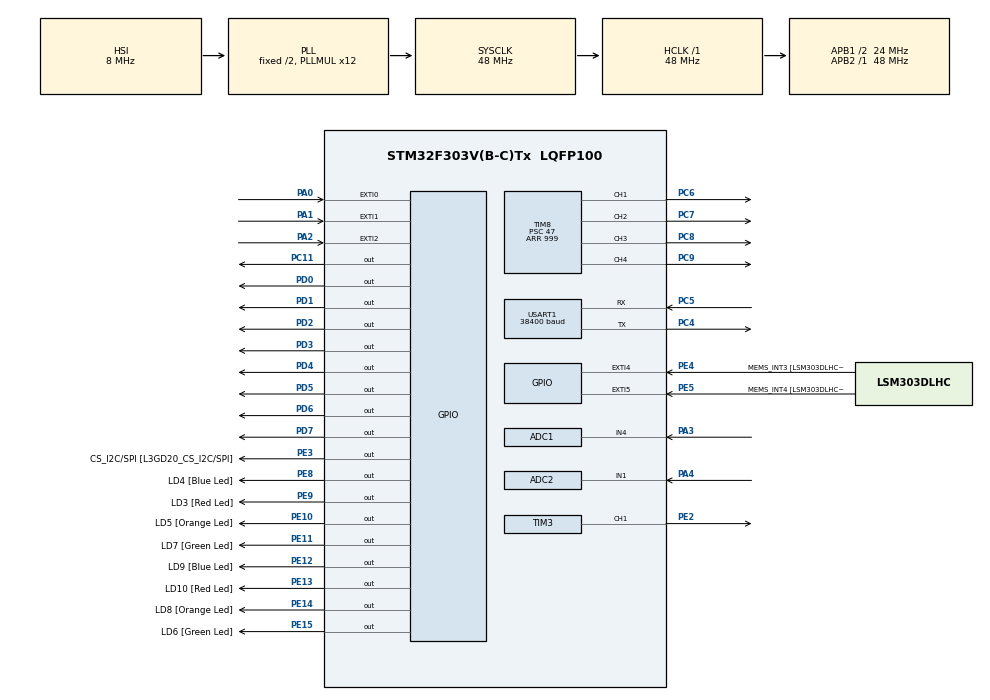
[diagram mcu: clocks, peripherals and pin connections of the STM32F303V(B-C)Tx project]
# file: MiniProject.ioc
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ADC1.Channel-0\#ChannelRegularConversion=ADC_CHANNEL_4
ADC1.NbrOfConversionFlag=1
ADC1.Offset-0\#ChannelRegularConversion=0
ADC1.OffsetNumber-0\#ChannelRegularConversion=ADC_OFFSET_NONE
ADC1.Rank-0\#ChannelRegularConversion=1
ADC1.SamplingTime-0\#ChannelRegularConversion=ADC_SAMPLETIME_601CYCLES_5
ADC1.SamplingTimeOPAMP-0\#ChannelRegularConversion=ADC_SAMPLETIME_19CYCLES_5
ADC1.master=1
ADC2.Channel-0\#ChannelRegularConversion=ADC_CHANNEL_1
ADC2.NbrOfConversionFlag=1
ADC2.Offset-0\#ChannelRegularConversion=0
ADC2.OffsetNumber-0\#ChannelRegularConversion=ADC_OFFSET_NONE
ADC2.Rank-0\#ChannelRegularConversion=1
ADC2.SamplingTime-0\#ChannelRegularConversion=ADC_SAMPLETIME_601CYCLES_5
ADC2.SamplingTimeOPAMP-0\#ChannelRegularConversion=ADC_SAMPLETIME_19CYCLES_5
Mcu.Family=STM32F3
Mcu.Name=STM32F303V(B-C)Tx
Mcu.Package=LQFP100
NVIC.ADC1_2_IRQn=true\:0\:0\:false\:false\:true\:true\:true\:true
NVIC.EXTI0_IRQn=true\:0\:0\:false\:false\:true\:true\:true\:true
NVIC.EXTI1_IRQn=true\:0\:0\:false\:false\:true\:true\:true\:true
NVIC.EXTI2_TSC_IRQn=true\:0\:0\:false\:false\:true\:true\:true\:true
NVIC.PriorityGroup=NVIC_PRIORITYGROUP_0
NVIC.TIM1_BRK_TIM15_IRQn=true\:0\:0\:false\:false\:true\:true\:true\:true
NVIC.TIM1_CC_IRQn=true\:0\:0\:false\:false\:true\:true\:true\:true
NVIC.TIM1_TRG_COM_TIM17_IRQn=true\:0\:0\:false\:false\:true\:true\:true\:true
NVIC.TIM1_UP_TIM16_IRQn=true\:0\:0\:false\:false\:true\:true\:true\:true
NVIC.TIM2_IRQn=true\:0\:0\:false\:false\:true\:true\:true\:true
NVIC.TIM4_IRQn=true\:0\:0\:false\:false\:true\:true\:true\:true
NVIC.TIM8_BRK_IRQn=true\:0\:0\:false\:false\:true\:true\:true\:true
NVIC.TIM8_CC_IRQn=true\:0\:0\:false\:false\:true\:true\:true\:true
NVIC.TIM8_TRG_COM_IRQn=true\:0\:0\:false\:false\:true\:true\:true\:true
NVIC.TIM8_UP_IRQn=true\:0\:0\:false\:false\:true\:true\:true\:true
NVIC.USART1_IRQn=true\:0\:0\:false\:false\:true\:true\:true\:true
PA0.GPIO_ModeDefaultEXTI=GPIO_MODE_IT_RISING
PA0.GPIO_PuPd=GPIO_PULLUP
PA0.Signal=GPXTI0
PA1.GPIO_ModeDefaultEXTI=GPIO_MODE_IT_RISING
PA1.GPIO_PuPd=GPIO_PULLUP
PA1.Signal=GPXTI1
PA11.GPIO_Label=DM
PA11.Signal=USB_DM
PA12.GPIO_Label=DP
PA12.Signal=USB_DP
PA13.GPIO_Label=SWDIO
PA13.Signal=SYS_JTMS-SWDIO
PA14.GPIO_Label=SWCLK
PA14.Signal=SYS_JTCK-SWCLK
PA2.GPIO_PuPd=GPIO_PULLUP
PA2.Signal=GPXTI2
PA3.Mode=IN4-Single-Ended
PA3.Signal=ADC1_IN4
PA4.Mode=IN1-Single-Ended
PA4.Signal=ADC2_IN1
PA5.GPIO_Label=SPI1_SCK [L3GD20_SCL/SPC]
PA5.GPIO_Mode=GPIO_MODE_AF_PP
PA5.GPIO_PuPd=GPIO_NOPULL
PA5.GPIO_Speed=GPIO_SPEED_FREQ_LOW
PA5.Signal=SPI1_SCK
PA6.GPIO_Label=SPI1_MISO [L3GD20_SA0/SDO]
PA6.GPIO_Mode=GPIO_MODE_AF_PP
PA6.GPIO_PuPd=GPIO_NOPULL
PA6.GPIO_Speed=GPIO_SPEED_FREQ_LOW
PA6.Signal=SPI1_MISO
PA7.GPIO_Label=SPI1_MISO [L3GD20_SDA/SDI/SDO]
PA7.GPIO_Mode=GPIO_MODE_AF_PP
PA7.GPIO_PuPd=GPIO_NOPULL
PA7.GPIO_Speed=GPIO_SPEED_FREQ_LOW
PA7.Signal=SPI1_MOSI
PB3.GPIO_Label=SWO
PB3.Signal=SYS_JTDO-TRACESWO
PB6.GPIO_FM6=__NULL
PB6.GPIO_Label=I2C1_SCL [LSM303DLHC_SCL]
PB6.GPIO_Mode=GPIO_MODE_AF_OD
PB6.GPIO_PuPd=GPIO_NOPULL
PB6.GPIO_Speed=GPIO_SPEED_FREQ_LOW
PB6.Signal=I2C1_SCL
PB7.GPIO_FM7=__NULL
PB7.GPIO_Label=I2C1_SDA [LSM303DLHC_SDA]
PB7.GPIO_Mode=GPIO_MODE_AF_OD
PB7.GPIO_PuPd=GPIO_NOPULL
PB7.GPIO_Speed=GPIO_SPEED_FREQ_LOW
PB7.Signal=I2C1_SDA
PC11.Signal=GPIO_Output
PC14-OSC32_IN.GPIO_Label=OSC32_IN
PC14-OSC32_IN.Signal=RCC_OSC32_IN
PC15-OSC32_OUT.GPIO_Label=OSC32_OUT
PC15-OSC32_OUT.Signal=RCC_OSC32_OUT
PC4.Mode=Asynchronous
PC4.Signal=USART1_TX
PC5.Mode=Asynchronous
PC5.Signal=USART1_RX
PC6.Signal=S_TIM8_CH1
PC7.Signal=S_TIM8_CH2
PC8.Signal=S_TIM8_CH3
PC9.Signal=S_TIM8_CH4
PD0.Signal=GPIO_Output
PD1.Signal=GPIO_Output
PD2.Signal=GPIO_Output
PD3.Signal=GPIO_Output
PD4.Signal=GPIO_Output
PD5.Signal=GPIO_Output
PD6.Signal=GPIO_Output
PD7.Signal=GPIO_Output
PE10.GPIO_Label=LD5 [Orange Led]
PE10.GPIO_ModeDefaultOutputPP=GPIO_MODE_OUTPUT_PP
PE10.GPIO_PuPd=GPIO_NOPULL
PE10.GPIO_Speed=GPIO_SPEED_FREQ_LOW
PE10.Signal=GPIO_Output
PE11.GPIO_Label=LD7 [Green Led]
PE11.GPIO_ModeDefaultOutputPP=GPIO_MODE_OUTPUT_PP
PE11.GPIO_PuPd=GPIO_NOPULL
PE11.GPIO_Speed=GPIO_SPEED_FREQ_LOW
PE11.Signal=GPIO_Output
PE12.GPIO_Label=LD9 [Blue Led]
PE12.GPIO_ModeDefaultOutputPP=GPIO_MODE_OUTPUT_PP
PE12.GPIO_PuPd=GPIO_NOPULL
PE12.GPIO_Speed=GPIO_SPEED_FREQ_LOW
PE12.Signal=GPIO_Output
PE13.GPIO_Label=LD10 [Red Led]
PE13.GPIO_ModeDefaultOutputPP=GPIO_MODE_OUTPUT_PP
PE13.GPIO_PuPd=GPIO_NOPULL
PE13.GPIO_Speed=GPIO_SPEED_FREQ_LOW
PE13.Signal=GPIO_Output
PE14.GPIO_Label=LD8 [Orange Led]
PE14.GPIO_ModeDefaultOutputPP=GPIO_MODE_OUTPUT_PP
PE14.GPIO_PuPd=GPIO_NOPULL
PE14.GPIO_Speed=GPIO_SPEED_FREQ_LOW
PE14.Signal=GPIO_Output
PE15.GPIO_Label=LD6 [Green Led]
PE15.GPIO_ModeDefaultOutputPP=GPIO_MODE_OUTPUT_PP
PE15.GPIO_PuPd=GPIO_NOPULL
PE15.GPIO_Speed=GPIO_SPEED_FREQ_LOW
PE15.Signal=GPIO_Output
PE2.Signal=S_TIM3_CH1
PE3.GPIO_Label=CS_I2C/SPI [L3GD20_CS_I2C/SPI]
PE3.GPIO_ModeDefaultOutputPP=GPIO_MODE_OUTPUT_PP
PE3.GPIO_PuPd=GPIO_NOPULL
PE3.GPIO_Speed=GPIO_SPEED_FREQ_LOW
PE3.Signal=GPIO_Output
PE4.GPIO_Label=MEMS_INT3 [LSM303DLHC_INT1]
PE4.GPIO_ModeDefaultEXTI=GPIO_MODE_EVT_RISING
PE4.GPIO_PuPd=GPIO_NOPULL
PE4.Signal=GPXTI4
PE5.GPIO_Label=MEMS_INT4 [LSM303DLHC_INT2]
PE5.GPIO_ModeDefaultEXTI=GPIO_MODE_EVT_RISING
PE5.GPIO_PuPd=GPIO_NOPULL
PE5.Signal=GPXTI5
PE8.GPIO_Label=LD4 [Blue Led]
PE8.GPIO_ModeDefaultOutputPP=GPIO_MODE_OUTPUT_PP
PE8.GPIO_PuPd=GPIO_NOPULL
PE8.GPIO_Speed=GPIO_SPEED_FREQ_LOW
PE8.Signal=GPIO_Output
PE9.GPIO_Label=LD3 [Red Led]
PE9.GPIO_ModeDefaultOutputPP=GPIO_MODE_OUTPUT_PP
PE9.GPIO_PuPd=GPIO_NOPULL
PE9.GPIO_Speed=GPIO_SPEED_FREQ_LOW
PE9.Signal=GPIO_Output
PF0-OSC_IN.GPIO_Label=OSC_IN
PF0-OSC_IN.Signal=RCC_OSC_IN
PF1-OSC_OUT.GPIO_Label=OSC_OUT
PF1-OSC_OUT.Signal=RCC_OSC_OUT
ProjectManager.HeapSize=0x200
ProjectManager.StackSize=0x400
ProjectManager.TargetToolchain=STM32CubeIDE
RCC.AHBFreq_Value=48000000
RCC.APB1CLKDivider=RCC_HCLK_DIV2
RCC.APB1Freq_Value=24000000
RCC.APB1TimFreq_Value=48000000
RCC.APB2Freq_Value=48000000
RCC.APB2TimFreq_Value=48000000
RCC.CortexFreq_Value=48000000
RCC.HCLKFreq_Value=48000000
RCC.HSE_VALUE=8000000
RCC.HSI_VALUE=8000000
RCC.LSE_VALUE=32768
RCC.PLLMUL=RCC_PLL_MUL12
RCC.SYSCLKFreq_VALUE=48000000
RCC.SYSCLKSourceVirtual=RCC_SYSCLKSOURCE_PLLCLK
RCC.USBFreq_Value=48000000
RTC.AsynchPrediv=39
RTC.SynchPrediv=999
SH.S_TIM3_CH1.0=TIM3_CH1,PWM Generation1 CH1
SH.S_TIM8_CH1.0=TIM8_CH1,PWM Generation1 CH1
SH.S_TIM8_CH2.0=TIM8_CH2,PWM Generation2 CH2
SH.S_TIM8_CH3.0=TIM8_CH3,PWM Generation3 CH3
SH.S_TIM8_CH4.0=TIM8_CH4,PWM Generation4 CH4
TIM1.Period=999
TIM1.Prescaler=49
TIM15.Period=49999
TIM15.Prescaler=1
TIM2.Period=999
TIM2.Prescaler=48
TIM3.Channel-PWM\ Generation1\ CH1=TIM_CHANNEL_1
TIM4.Period=999
TIM4.Prescaler=48
TIM8.Channel-PWM\ Generation1\ CH1=TIM_CHANNEL_1
TIM8.Channel-PWM\ Generation2\ CH2=TIM_CHANNEL_2
TIM8.Channel-PWM\ Generation3\ CH3=TIM_CHANNEL_3
TIM8.Channel-PWM\ Generation4\ CH4=TIM_CHANNEL_4
TIM8.Period=999
TIM8.Prescaler=47
USART1.BaudRate=38400
USART1.VirtualMode-Asynchronous=VM_ASYNC
VP_RTC_VS_RTC_Activate.Mode=RTC_Enabled
VP_RTC_VS_RTC_Calendar.Mode=RTC_Calendar
VP_TIM15_VS_ClockSourceINT.Mode=Internal
VP_TIM1_VS_ClockSourceINT.Mode=Internal
VP_TIM2_VS_ClockSourceINT.Mode=Internal
VP_TIM3_VS_ClockSourceINT.Mode=Internal
VP_TIM4_VS_ClockSourceINT.Mode=Internal
VP_TIM8_VS_ClockSourceINT.Mode=Internal
board=STM32F3DISCOVERY

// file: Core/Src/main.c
/* USER CODE BEGIN Header */
/**
  ******************************************************************************
  * @file           : main.c
  * @brief          : Main program body
  ******************************************************************************
  * @attention
  *
  * Copyright (c) 2023 STMicroelectronics.
  * All rights reserved.
  *
  * This software is licensed under terms that can be found in the LICENSE file
  * in the root directory of this software component.
  * If no LICENSE file comes with this software, it is provided AS-IS.
  *
  ******************************************************************************
  */
/* USER CODE END Header */
#include "main.h"

/* USER CODE BEGIN Includes */
#include <math.h>
#include <stdio.h>
/* USER CODE END Includes */

ADC_HandleTypeDef hadc1;
ADC_HandleTypeDef hadc2;

RTC_HandleTypeDef hrtc;

TIM_HandleTypeDef htim1;
TIM_HandleTypeDef htim2;
TIM_HandleTypeDef htim3;
TIM_HandleTypeDef htim4;
TIM_HandleTypeDef htim8;
TIM_HandleTypeDef htim15;

UART_HandleTypeDef huart1;

/* USER CODE BEGIN PV */
extern seven_segment_type  seven_segment;
int flag ;
extern int warn_number = 0;
extern int  tereshhold ;
extern int  state ;

TIM_HandleTypeDef *pwm_timer = &htim3;	// Point to PWM Timer configured in CubeMX
uint32_t pwm_channel = TIM_CHANNEL_1;   // Select configured PWM channel number

void PWM_Change_Tone(uint16_t pwm_freq, uint16_t volume) // pwm_freq (1 - 20000), volume (0 - 1000)
{
    if (pwm_freq == 0 || pwm_freq > 20000)
    {
        __HAL_TIM_SET_COMPARE(pwm_timer, pwm_channel, 0);
    }
    else
    {
        const uint32_t internal_clock_freq = HAL_RCC_GetSysClockFreq();
        const uint16_t prescaler = 1 + internal_clock_freq / pwm_freq / 60000;
        const uint32_t timer_clock = internal_clock_freq / prescaler;
        const uint32_t period_cycles = timer_clock / pwm_freq;
        const uint32_t pulse_width = volume * period_cycles / 1000 / 2;

        pwm_timer->Instance->PSC = prescaler - 1;
        pwm_timer->Instance->ARR = period_cycles - 1;
        pwm_timer->Instance->EGR = TIM_EGR_UG;
        __HAL_TIM_SET_COMPARE(pwm_timer, pwm_channel, pulse_width); // pwm_timer->Instance->CCR2 = pulse_width;
    }
}

/* USER CODE END PV */

void SystemClock_Config(void);
static void MX_GPIO_Init(void);
static void MX_TIM1_Init(void);
static void MX_TIM8_Init(void);
static void MX_ADC1_Init(void);
static void MX_USART1_UART_Init(void);
static void MX_TIM2_Init(void);
static void MX_ADC2_Init(void);
static void MX_TIM3_Init(void);
static void MX_TIM4_Init(void);
static void MX_RTC_Init(void);
static void MX_TIM15_Init(void);

/* USER CODE BEGIN 0 */

/////////////////////// ADC CallBack /////////////////////////
extern int enableCCR1, enableCCR2, enableCCR3, enableCCR4, dimstep;
int LDR_Value ;

int LDR_tresh ;
int LDR_trsh_count = 0 ;
int critical_mode ;

//   UART index
uint8_t buffer[100] ;
uint8_t uart_index ;
uint8_t rx_byte ;

uint32_t counter = 0;
int counter_buzzer = 0 ;
uint32_t dig1 , dig2 , dig3 , dig4 ;
int critical_counter = 0;
int is_critical = 0;

extern int warn_num ;
RTC_DateTypeDef mydate ;
RTC_TimeTypeDef mytime ;

void HAL_ADC_ConvCpltCallback(ADC_HandleTypeDef *hadc)
{
    if (hadc->Instance == ADC1)
    {
    	if (state == 1){

    	if (is_critical == 1 ){

    	int x=HAL_ADC_GetValue(&hadc1);
    	int fx=((int)x*100/4095);

    	if (x <= tereshhold){
    		flag = 0;
    		seven_segment.digits[0] = dig1 ;
    		seven_segment.digits[1] = dig2 ;
    		seven_segment.digits[2] = dig3 ;
    		seven_segment.digits[3] = dig4  + 1;

    		counter_buzzer = 0 ;
    		PWM_Change_Tone(0 , 100) ;
    		is_critical = 0 ;
    }

    	}else{
    	  int light=HAL_ADC_GetValue(&hadc1);
    	  int fx=((int)light*100/4095);

    	  if (light >= tereshhold){
    		  HAL_GPIO_TogglePin(GPIOE, GPIO_PIN_12);

    		  flag = 1 ;
    		  LDR_Value = light;
    		  is_critical = 1 ;

    		  char timestr[30] ;
    		  HAL_RTC_GetTime(&hrtc, &mytime, RTC_FORMAT_BIN);
    		  HAL_RTC_GetDate(&hrtc, &mydate, RTC_FORMAT_BIN) ;

    		  int ss = sprintf(timestr, "INFO [%2d:%2d:%2d] \n " , mytime.Hours , mytime.Minutes , mytime.Seconds) ;
    		  HAL_UART_Transmit(&huart1 ,&timestr,ss,1000);

    		  char tmp1[100];
    		  int len1 = sprintf(tmp1,"Critical situation.Light Value : {%d} \n", LDR_Value);
    		  HAL_UART_Transmit(&huart1, tmp1, len1, 200);
    	  }

//    	  unsigned char data[100]="SALAM";
//    	  uint8_t n = sprintf(data,"%d  %d\n", x  , fx);
//    	  HAL_UART_Transmit(&huart1 ,&data,n,1000);
		  HAL_GPIO_TogglePin(GPIOE, GPIO_PIN_8);
    	}}else{
    		 int x=HAL_ADC_GetValue(&hadc1);
    		 int fx=((int)x*100/4095);
    		 if (LDR_trsh_count == 0 ){
    		     LDR_trsh_count ++  ;
    		     LDR_tresh  = x;
    		     tereshhold = LDR_tresh ;

    		 }
    	}

    } else if (hadc->Instance == ADC2) {

    	if ( state == 0 ){

    		 int x=HAL_ADC_GetValue(&hadc2);
    		 int fx=((int)x*100/4095);

    		 x = x /20 ;
    		 x = x * 20 ;
    		 seven_segment_set_num_reverse(x) ;

    	}else{
    	  int x=HAL_ADC_GetValue(&hadc2);
    	  int fx=((int)x*100/4095);
//    	  unsigned char data[100]="SALAM";
//    	  uint8_t n = sprintf(data,"--- %d  %d\n", x  , fx);
//    	  HAL_UART_Transmit(&huart1 ,&data,n,1000);

    	  int  cdigit = (dimstep * 100) + fx / (100/19) * 10 - 90;
//
//    	  uint8_t nn = sprintf(data,"dimstep: %d, cdifgit: %d\n", dimstep, cdigit);
//    	  HAL_UART_Transmit(&huart1 ,&data,nn,1000);

    	  if (enableCCR1)
    		  TIM8->CCR1 = cdigit >=0  ? cdigit : 0;
    	  if (enableCCR2)
    		  TIM8->CCR2 = cdigit >=0  ? cdigit : 0;
    	  if (enableCCR3)
    		  TIM8->CCR3 = cdigit >=0  ? cdigit : 0;
    	  if (enableCCR4)
		  	  TIM8->CCR4 = cdigit >=0  ? cdigit : 0;

		  HAL_GPIO_TogglePin(GPIOE, GPIO_PIN_8);
    }
    }
}

/////////////////////// Timer CallBack /////////////////////////
void HAL_TIM_PeriodElapsedCallback(TIM_HandleTypeDef *htim)
{
	if (htim->Instance == TIM1){
		programLoop();
	} else if (htim->Instance == TIM4) {
		if (counter % 500 == 0){
			HAL_GPIO_TogglePin(GPIOE, GPIO_PIN_11);
			HAL_ADC_Start_IT(&hadc1);
			HAL_ADC_Start_IT(&hadc2);
		}
		int x ;
		if (flag == 1) {
			if (counter_buzzer == 0){
				dig1 = seven_segment.digits[0] ;
				dig2 = seven_segment.digits[1] ;
				dig3 = seven_segment.digits[2] ;
				dig4 = seven_segment.digits[3] ;

			}
//
			if(warn_num == 0 ){
				 x = 700 ;
			}else if(warn_num == 1) {
				 x = sin_function(counter_buzzer);
			}else if (warn_num == 2) {
				 x =  triangle_function(counter_buzzer);
			}else{
				 x = square(counter_buzzer);
			}
			PWM_Change_Tone(x , 500) ;

  		  seven_segment_set_num_reverse(LDR_Value);

			TIM8->CCR1 = 0 ;
			TIM8->CCR2 = 0 ;
			TIM8->CCR3 = 0 ;
			TIM8->CCR4 = 0 ;

			counter_buzzer++;

		}
	}else if (htim->Instance == TIM15){

	}
	counter ++;
}

int sin_function(counter) {
		HAL_GPIO_WritePin(GPIOE, GPIO_PIN_9, 1);
		int x = sin(counter/100) * 300 + 300 ;
//		char tmp[10];
//		int len = sprintf(tmp,"%d\n", x);
//		HAL_UART_Transmit(&huart1, tmp, len, 200);
		return x ;
}
int triangle_function(counter){

	return counter  % 1000;
}
int square(counter){

	if (counter % 200 >= 100 ){
		return 1000 ;
	}else{
		return 0 ;
	}

}

// **************************Uart callback **************8

void HAL_UART_RxCpltCallback(UART_HandleTypeDef *huart)
{
    if (huart->Instance == USART1)
    {
    	if(rx_byte == '/n') {

    		if(buffer[1] == 'D'){
    			seven_segment.digits[0] = buffer[11] ;

    			 int n = seven_segment.digits[0]  * 100 ;
    			 int c = TIM8->CCR1 % 100 ;
    			 dimstep = n + c ;

    	    	  if (enableCCR1)
    	    		  TIM8->CCR1 = dimstep >=0  ? dimstep : 0;
    	    	  if (enableCCR2)
    	    		  TIM8->CCR2 = dimstep >=0  ? dimstep : 0;
    	    	  if (enableCCR3)
    	    		  TIM8->CCR3 = dimstep >=0  ? dimstep : 0;
    	    	  if (enableCCR4)
    			  	  TIM8->CCR4 = dimstep >=0  ? dimstep : 0;

    		}else if (buffer[1] == 'L'){
    			seven_segment.digits[1] =buffer[11] ;

    			if (seven_segment.digits[1] == 0){
    						setTIM8CCR1(0); enableCCR1 = 0;
    						setTIM8CCR2(0); enableCCR2 = 0;
    						setTIM8CCR3(0); enableCCR3 = 0;
    						setTIM8CCR4(0); enableCCR4 = 0;
    					} else if (seven_segment.digits[1] == 1){
    						setTIM8CCR1(seven_segment.digits[0]); enableCCR1 = 1;
    						setTIM8CCR2(0); enableCCR2 = 0;
    						setTIM8CCR3(0); enableCCR3 = 0;
    						setTIM8CCR4(0); enableCCR4 = 0;
    					} else if (seven_segment.digits[1] == 2){
    						setTIM8CCR1(seven_segment.digits[0]); enableCCR1 = 1;
    						setTIM8CCR2(0); enableCCR2 = 0;
    						setTIM8CCR3(0); enableCCR3 = 0;
    						setTIM8CCR4(seven_segment.digits[0]); enableCCR4 = 1;
    					} else if (seven_segment.digits[1] == 3){
    						setTIM8CCR1(seven_segment.digits[0]); enableCCR1 = 1;
    						setTIM8CCR2(seven_segment.digits[0]); enableCCR2 = 1;
    						setTIM8CCR3(0); enableCCR3 = 0;
    						setTIM8CCR4(seven_segment.digits[0]); enableCCR4 = 1;
    					} else if (seven_segment.digits[1] >= 4) {
    						setTIM8CCR1(seven_segment.digits[0]); enableCCR1 = 1;
    						setTIM8CCR2(seven_segment.digits[0]); enableCCR2 = 1;
    						setTIM8CCR3(seven_segment.digits[0]); enableCCR3 = 1;
    						setTIM8CCR4(seven_segment.digits[0]); enableCCR4 = 1;
    					}

    		}else {
    			seven_segment.digits[2] = buffer[11] ;
    		}

    		uart_index = 0;
    	}

    	buffer[uart_index++] = rx_byte ;

    	HAL_UARTEx_ReceiveToIdle_IT(&huart1, &rx_byte, 1);
    }

}

/* USER CODE END 0 */

int main(void)
{

  /* MCU Configuration--------------------------------------------------------*/

  /* Reset of all peripherals, Initializes the Flash interface and the Systick. */
  HAL_Init();

  /* Configure the system clock */
  SystemClock_Config();

  /* Initialize all configured peripherals */
  MX_GPIO_Init();
  MX_TIM1_Init();
  MX_TIM8_Init();
  MX_ADC1_Init();
  MX_USART1_UART_Init();
  MX_TIM2_Init();
  MX_ADC2_Init();
  MX_TIM3_Init();
  MX_TIM4_Init();
  MX_RTC_Init();
  MX_TIM15_Init();
  /* USER CODE BEGIN 2 */
  state = 0 ;
  uart_index = 0 ;
  is_critical = 0 ;

  HAL_TIM_Base_Start_IT(&htim1);
//  HAL_TIM_Base_Start_IT(&htim2);
  HAL_TIM_Base_Start_IT(&htim4);
  HAL_TIM_Base_Start_IT(&htim15);

  HAL_TIM_PWM_Start(&htim8, TIM_CHANNEL_1);
  HAL_TIM_PWM_Start(&htim8, TIM_CHANNEL_2);
  HAL_TIM_PWM_Start(&htim8, TIM_CHANNEL_3);
  HAL_TIM_PWM_Start(&htim8, TIM_CHANNEL_4);

 HAL_UARTEx_ReceiveToIdle_IT(&huart1, buffer, 1);

  HAL_TIM_PWM_Start(&htim3, TIM_CHANNEL_1);  // PWM for Buzzer
  HAL_ADC_Start_IT(&hadc1);

  flag = 0 ; // controlling the buzzer using flag

  warn_number = 1 ;

  mytime.Hours = 0 ;
  mytime.Minutes = 0 ;
  mytime.Seconds = 0 ;
  HAL_RTC_SetTime(&hrtc, &mytime, RTC_FORMAT_BIN) ;

  mydate.Year = 0 ;
  mydate.Month =  0 ;
  mydate.Date = 0 ;
  HAL_RTC_SetDate(&hrtc, &mydate, RTC_FORMAT_BIN);

  /* USER CODE END 2 */

  /* Infinite loop */
  while (1)
  {

  }
}

void SystemClock_Config(void)
{
  RCC_OscInitTypeDef RCC_OscInitStruct = {0};
  RCC_ClkInitTypeDef RCC_ClkInitStruct = {0};
  RCC_PeriphCLKInitTypeDef PeriphClkInit = {0};

  /** Initializes the RCC Oscillators according to the specified parameters
  * in the RCC_OscInitTypeDef structure.
  */
  RCC_OscInitStruct.OscillatorType = RCC_OSCILLATORTYPE_HSI|RCC_OSCILLATORTYPE_LSI;
  RCC_OscInitStruct.HSIState = RCC_HSI_ON;
  RCC_OscInitStruct.HSICalibrationValue = RCC_HSICALIBRATION_DEFAULT;
  RCC_OscInitStruct.LSIState = RCC_LSI_ON;
  RCC_OscInitStruct.PLL.PLLState = RCC_PLL_ON;
  RCC_OscInitStruct.PLL.PLLSource = RCC_PLLSOURCE_HSI;
  RCC_OscInitStruct.PLL.PLLMUL = RCC_PLL_MUL12;
  if (HAL_RCC_OscConfig(&RCC_OscInitStruct) != HAL_OK)
  {
    Error_Handler();
  }

  /** Initializes the CPU, AHB and APB buses clocks
  */
  RCC_ClkInitStruct.ClockType = RCC_CLOCKTYPE_HCLK|RCC_CLOCKTYPE_SYSCLK
                              |RCC_CLOCKTYPE_PCLK1|RCC_CLOCKTYPE_PCLK2;
  RCC_ClkInitStruct.SYSCLKSource = RCC_SYSCLKSOURCE_PLLCLK;
  RCC_ClkInitStruct.AHBCLKDivider = RCC_SYSCLK_DIV1;
  RCC_ClkInitStruct.APB1CLKDivider = RCC_HCLK_DIV2;
  RCC_ClkInitStruct.APB2CLKDivider = RCC_HCLK_DIV1;

  if (HAL_RCC_ClockConfig(&RCC_ClkInitStruct, FLASH_LATENCY_1) != HAL_OK)
  {
    Error_Handler();
  }
  PeriphClkInit.PeriphClockSelection = RCC_PERIPHCLK_USART1|RCC_PERIPHCLK_RTC
                              |RCC_PERIPHCLK_TIM1|RCC_PERIPHCLK_TIM8
                              |RCC_PERIPHCLK_ADC12;
  PeriphClkInit.Usart1ClockSelection = RCC_USART1CLKSOURCE_PCLK2;
  PeriphClkInit.Adc12ClockSelection = RCC_ADC12PLLCLK_DIV1;
  PeriphClkInit.RTCClockSelection = RCC_RTCCLKSOURCE_LSI;
  PeriphClkInit.Tim1ClockSelection = RCC_TIM1CLK_HCLK;
  PeriphClkInit.Tim8ClockSelection = RCC_TIM8CLK_HCLK;
  if (HAL_RCCEx_PeriphCLKConfig(&PeriphClkInit) != HAL_OK)
  {
    Error_Handler();
  }
}

static void MX_ADC1_Init(void)
{

  ADC_MultiModeTypeDef multimode = {0};
  ADC_ChannelConfTypeDef sConfig = {0};

  /** Common config
  */
  hadc1.Instance = ADC1;
  hadc1.Init.ClockPrescaler = ADC_CLOCK_ASYNC_DIV1;
  hadc1.Init.Resolution = ADC_RESOLUTION_12B;
  hadc1.Init.ScanConvMode = ADC_SCAN_DISABLE;
  hadc1.Init.ContinuousConvMode = DISABLE;
  hadc1.Init.DiscontinuousConvMode = DISABLE;
  hadc1.Init.ExternalTrigConvEdge = ADC_EXTERNALTRIGCONVEDGE_NONE;
  hadc1.Init.ExternalTrigConv = ADC_SOFTWARE_START;
  hadc1.Init.DataAlign = ADC_DATAALIGN_RIGHT;
  hadc1.Init.NbrOfConversion = 1;
  hadc1.Init.DMAContinuousRequests = DISABLE;
  hadc1.Init.EOCSelection = ADC_EOC_SINGLE_CONV;
  hadc1.Init.LowPowerAutoWait = DISABLE;
  hadc1.Init.Overrun = ADC_OVR_DATA_OVERWRITTEN;
  if (HAL_ADC_Init(&hadc1) != HAL_OK)
  {
    Error_Handler();
  }

  /** Configure the ADC multi-mode
  */
  multimode.Mode = ADC_MODE_INDEPENDENT;
  if (HAL_ADCEx_MultiModeConfigChannel(&hadc1, &multimode) != HAL_OK)
  {
    Error_Handler();
  }

  /** Configure Regular Channel
  */
  sConfig.Channel = ADC_CHANNEL_4;
  sConfig.Rank = ADC_REGULAR_RANK_1;
  sConfig.SingleDiff = ADC_SINGLE_ENDED;
  sConfig.SamplingTime = ADC_SAMPLETIME_601CYCLES_5;
  sConfig.OffsetNumber = ADC_OFFSET_NONE;
  sConfig.Offset = 0;
  if (HAL_ADC_ConfigChannel(&hadc1, &sConfig) != HAL_OK)
  {
    Error_Handler();
  }

}

static void MX_ADC2_Init(void)
{

  ADC_ChannelConfTypeDef sConfig = {0};

  /** Common config
  */
  hadc2.Instance = ADC2;
  hadc2.Init.ClockPrescaler = ADC_CLOCK_ASYNC_DIV1;
  hadc2.Init.Resolution = ADC_RESOLUTION_12B;
  hadc2.Init.ScanConvMode = ADC_SCAN_DISABLE;
  hadc2.Init.ContinuousConvMode = DISABLE;
  hadc2.Init.DiscontinuousConvMode = DISABLE;
  hadc2.Init.ExternalTrigConvEdge = ADC_EXTERNALTRIGCONVEDGE_NONE;
  hadc2.Init.ExternalTrigConv = ADC_SOFTWARE_START;
  hadc2.Init.DataAlign = ADC_DATAALIGN_RIGHT;
  hadc2.Init.NbrOfConversion = 1;
  hadc2.Init.DMAContinuousRequests = DISABLE;
  hadc2.Init.EOCSelection = ADC_EOC_SINGLE_CONV;
  hadc2.Init.LowPowerAutoWait = DISABLE;
  hadc2.Init.Overrun = ADC_OVR_DATA_OVERWRITTEN;
  if (HAL_ADC_Init(&hadc2) != HAL_OK)
  {
    Error_Handler();
  }

  /** Configure Regular Channel
  */
  sConfig.Channel = ADC_CHANNEL_1;
  sConfig.Rank = ADC_REGULAR_RANK_1;
  sConfig.SingleDiff = ADC_SINGLE_ENDED;
  sConfig.SamplingTime = ADC_SAMPLETIME_601CYCLES_5;
  sConfig.OffsetNumber = ADC_OFFSET_NONE;
  sConfig.Offset = 0;
  if (HAL_ADC_ConfigChannel(&hadc2, &sConfig) != HAL_OK)
  {
    Error_Handler();
  }

}

static void MX_RTC_Init(void)
{

  RTC_TimeTypeDef sTime = {0};
  RTC_DateTypeDef sDate = {0};

  /** Initialize RTC Only
  */
  hrtc.Instance = RTC;
  hrtc.Init.HourFormat = RTC_HOURFORMAT_24;
  hrtc.Init.AsynchPrediv = 39;
  hrtc.Init.SynchPrediv = 999;
  hrtc.Init.OutPut = RTC_OUTPUT_DISABLE;
  hrtc.Init.OutPutPolarity = RTC_OUTPUT_POLARITY_HIGH;
  hrtc.Init.OutPutType = RTC_OUTPUT_TYPE_OPENDRAIN;
  if (HAL_RTC_Init(&hrtc) != HAL_OK)
  {
    Error_Handler();
  }

  /** Initialize RTC and set the Time and Date
  */
  sTime.Hours = 0x0;
  sTime.Minutes = 0x0;
  sTime.Seconds = 0x0;
  sTime.DayLightSaving = RTC_DAYLIGHTSAVING_NONE;
  sTime.StoreOperation = RTC_STOREOPERATION_RESET;
  if (HAL_RTC_SetTime(&hrtc, &sTime, RTC_FORMAT_BCD) != HAL_OK)
  {
    Error_Handler();
  }
  sDate.WeekDay = RTC_WEEKDAY_MONDAY;
  sDate.Month = RTC_MONTH_JANUARY;
  sDate.Date = 0x1;
  sDate.Year = 0x0;

  if (HAL_RTC_SetDate(&hrtc, &sDate, RTC_FORMAT_BCD) != HAL_OK)
  {
    Error_Handler();
  }

}

static void MX_TIM1_Init(void)
{

  TIM_ClockConfigTypeDef sClockSourceConfig = {0};
  TIM_MasterConfigTypeDef sMasterConfig = {0};

  htim1.Instance = TIM1;
  htim1.Init.Prescaler = 49;
  htim1.Init.CounterMode = TIM_COUNTERMODE_UP;
  htim1.Init.Period = 999;
  htim1.Init.ClockDivision = TIM_CLOCKDIVISION_DIV1;
  htim1.Init.RepetitionCounter = 0;
  htim1.Init.AutoReloadPreload = TIM_AUTORELOAD_PRELOAD_DISABLE;
  if (HAL_TIM_Base_Init(&htim1) != HAL_OK)
  {
    Error_Handler();
  }
  sClockSourceConfig.ClockSource = TIM_CLOCKSOURCE_INTERNAL;
  if (HAL_TIM_ConfigClockSource(&htim1, &sClockSourceConfig) != HAL_OK)
  {
    Error_Handler();
  }
  sMasterConfig.MasterOutputTrigger = TIM_TRGO_RESET;
  sMasterConfig.MasterOutputTrigger2 = TIM_TRGO2_RESET;
  sMasterConfig.MasterSlaveMode = TIM_MASTERSLAVEMODE_DISABLE;
  if (HAL_TIMEx_MasterConfigSynchronization(&htim1, &sMasterConfig) != HAL_OK)
  {
    Error_Handler();
  }

}

static void MX_TIM2_Init(void)
{

  TIM_ClockConfigTypeDef sClockSourceConfig = {0};
  TIM_MasterConfigTypeDef sMasterConfig = {0};

  htim2.Instance = TIM2;
  htim2.Init.Prescaler = 48;
  htim2.Init.CounterMode = TIM_COUNTERMODE_UP;
  htim2.Init.Period = 999;
  htim2.Init.ClockDivision = TIM_CLOCKDIVISION_DIV1;
  htim2.Init.AutoReloadPreload = TIM_AUTORELOAD_PRELOAD_DISABLE;
  if (HAL_TIM_Base_Init(&htim2) != HAL_OK)
  {
    Error_Handler();
  }
  sClockSourceConfig.ClockSource = TIM_CLOCKSOURCE_INTERNAL;
  if (HAL_TIM_ConfigClockSource(&htim2, &sClockSourceConfig) != HAL_OK)
  {
    Error_Handler();
  }
  sMasterConfig.MasterOutputTrigger = TIM_TRGO_RESET;
  sMasterConfig.MasterSlaveMode = TIM_MASTERSLAVEMODE_DISABLE;
  if (HAL_TIMEx_MasterConfigSynchronization(&htim2, &sMasterConfig) != HAL_OK)
  {
    Error_Handler();
  }

}

static void MX_TIM3_Init(void)
{

  TIM_ClockConfigTypeDef sClockSourceConfig = {0};
  TIM_MasterConfigTypeDef sMasterConfig = {0};
  TIM_OC_InitTypeDef sConfigOC = {0};

  htim3.Instance = TIM3;
  htim3.Init.Prescaler = 0;
  htim3.Init.CounterMode = TIM_COUNTERMODE_UP;
  htim3.Init.Period = 65535;
  htim3.Init.ClockDivision = TIM_CLOCKDIVISION_DIV1;
  htim3.Init.AutoReloadPreload = TIM_AUTORELOAD_PRELOAD_DISABLE;
  if (HAL_TIM_Base_Init(&htim3) != HAL_OK)
  {
    Error_Handler();
  }
  sClockSourceConfig.ClockSource = TIM_CLOCKSOURCE_INTERNAL;
  if (HAL_TIM_ConfigClockSource(&htim3, &sClockSourceConfig) != HAL_OK)
  {
    Error_Handler();
  }
  if (HAL_TIM_PWM_Init(&htim3) != HAL_OK)
  {
    Error_Handler();
  }
  sMasterConfig.MasterOutputTrigger = TIM_TRGO_RESET;
  sMasterConfig.MasterSlaveMode = TIM_MASTERSLAVEMODE_DISABLE;
  if (HAL_TIMEx_MasterConfigSynchronization(&htim3, &sMasterConfig) != HAL_OK)
  {
    Error_Handler();
  }
  sConfigOC.OCMode = TIM_OCMODE_PWM1;
  sConfigOC.Pulse = 0;
  sConfigOC.OCPolarity = TIM_OCPOLARITY_HIGH;
  sConfigOC.OCFastMode = TIM_OCFAST_DISABLE;
  if (HAL_TIM_PWM_ConfigChannel(&htim3, &sConfigOC, TIM_CHANNEL_1) != HAL_OK)
  {
    Error_Handler();
  }
  HAL_TIM_MspPostInit(&htim3);

}

static void MX_TIM4_Init(void)
{

  TIM_ClockConfigTypeDef sClockSourceConfig = {0};
  TIM_MasterConfigTypeDef sMasterConfig = {0};

  htim4.Instance = TIM4;
  htim4.Init.Prescaler = 48;
  htim4.Init.CounterMode = TIM_COUNTERMODE_UP;
  htim4.Init.Period = 999;
  htim4.Init.ClockDivision = TIM_CLOCKDIVISION_DIV1;
  htim4.Init.AutoReloadPreload = TIM_AUTORELOAD_PRELOAD_DISABLE;
  if (HAL_TIM_Base_Init(&htim4) != HAL_OK)
  {
    Error_Handler();
  }
  sClockSourceConfig.ClockSource = TIM_CLOCKSOURCE_INTERNAL;
  if (HAL_TIM_ConfigClockSource(&htim4, &sClockSourceConfig) != HAL_OK)
  {
    Error_Handler();
  }
  sMasterConfig.MasterOutputTrigger = TIM_TRGO_RESET;
  sMasterConfig.MasterSlaveMode = TIM_MASTERSLAVEMODE_DISABLE;
  if (HAL_TIMEx_MasterConfigSynchronization(&htim4, &sMasterConfig) != HAL_OK)
  {
    Error_Handler();
  }

}

static void MX_TIM8_Init(void)
{

  TIM_ClockConfigTypeDef sClockSourceConfig = {0};
  TIM_MasterConfigTypeDef sMasterConfig = {0};
  TIM_OC_InitTypeDef sConfigOC = {0};
  TIM_BreakDeadTimeConfigTypeDef sBreakDeadTimeConfig = {0};

  htim8.Instance = TIM8;
  htim8.Init.Prescaler = 47;
  htim8.Init.CounterMode = TIM_COUNTERMODE_UP;
  htim8.Init.Period = 999;
  htim8.Init.ClockDivision = TIM_CLOCKDIVISION_DIV1;
  htim8.Init.RepetitionCounter = 0;
  htim8.Init.AutoReloadPreload = TIM_AUTORELOAD_PRELOAD_DISABLE;
  if (HAL_TIM_Base_Init(&htim8) != HAL_OK)
  {
    Error_Handler();
  }
  sClockSourceConfig.ClockSource = TIM_CLOCKSOURCE_INTERNAL;
  if (HAL_TIM_ConfigClockSource(&htim8, &sClockSourceConfig) != HAL_OK)
  {
    Error_Handler();
  }
  if (HAL_TIM_PWM_Init(&htim8) != HAL_OK)
  {
    Error_Handler();
  }
  sMasterConfig.MasterOutputTrigger = TIM_TRGO_RESET;
  sMasterConfig.MasterOutputTrigger2 = TIM_TRGO2_RESET;
  sMasterConfig.MasterSlaveMode = TIM_MASTERSLAVEMODE_DISABLE;
  if (HAL_TIMEx_MasterConfigSynchronization(&htim8, &sMasterConfig) != HAL_OK)
  {
    Error_Handler();
  }
  sConfigOC.OCMode = TIM_OCMODE_PWM1;
  sConfigOC.Pulse = 0;
  sConfigOC.OCPolarity = TIM_OCPOLARITY_HIGH;
  sConfigOC.OCNPolarity = TIM_OCNPOLARITY_HIGH;
  sConfigOC.OCFastMode = TIM_OCFAST_DISABLE;
  sConfigOC.OCIdleState = TIM_OCIDLESTATE_RESET;
  sConfigOC.OCNIdleState = TIM_OCNIDLESTATE_RESET;
  if (HAL_TIM_PWM_ConfigChannel(&htim8, &sConfigOC, TIM_CHANNEL_1) != HAL_OK)
  {
    Error_Handler();
  }
  if (HAL_TIM_PWM_ConfigChannel(&htim8, &sConfigOC, TIM_CHANNEL_2) != HAL_OK)
  {
    Error_Handler();
  }
  if (HAL_TIM_PWM_ConfigChannel(&htim8, &sConfigOC, TIM_CHANNEL_3) != HAL_OK)
  {
    Error_Handler();
  }
  if (HAL_TIM_PWM_ConfigChannel(&htim8, &sConfigOC, TIM_CHANNEL_4) != HAL_OK)
  {
    Error_Handler();
  }
  sBreakDeadTimeConfig.OffStateRunMode = TIM_OSSR_DISABLE;
  sBreakDeadTimeConfig.OffStateIDLEMode = TIM_OSSI_DISABLE;
  sBreakDeadTimeConfig.LockLevel = TIM_LOCKLEVEL_OFF;
  sBreakDeadTimeConfig.DeadTime = 0;
  sBreakDeadTimeConfig.BreakState = TIM_BREAK_DISABLE;
  sBreakDeadTimeConfig.BreakPolarity = TIM_BREAKPOLARITY_HIGH;
  sBreakDeadTimeConfig.BreakFilter = 0;
  sBreakDeadTimeConfig.Break2State = TIM_BREAK2_DISABLE;
  sBreakDeadTimeConfig.Break2Polarity = TIM_BREAK2POLARITY_HIGH;
  sBreakDeadTimeConfig.Break2Filter = 0;
  sBreakDeadTimeConfig.AutomaticOutput = TIM_AUTOMATICOUTPUT_DISABLE;
  if (HAL_TIMEx_ConfigBreakDeadTime(&htim8, &sBreakDeadTimeConfig) != HAL_OK)
  {
    Error_Handler();
  }
  HAL_TIM_MspPostInit(&htim8);

}

static void MX_TIM15_Init(void)
{

  TIM_ClockConfigTypeDef sClockSourceConfig = {0};
  TIM_MasterConfigTypeDef sMasterConfig = {0};

  htim15.Instance = TIM15;
  htim15.Init.Prescaler = 1;
  htim15.Init.CounterMode = TIM_COUNTERMODE_UP;
  htim15.Init.Period = 49999;
  htim15.Init.ClockDivision = TIM_CLOCKDIVISION_DIV1;
  htim15.Init.RepetitionCounter = 0;
  htim15.Init.AutoReloadPreload = TIM_AUTORELOAD_PRELOAD_DISABLE;
  if (HAL_TIM_Base_Init(&htim15) != HAL_OK)
  {
    Error_Handler();
  }
  sClockSourceConfig.ClockSource = TIM_CLOCKSOURCE_INTERNAL;
  if (HAL_TIM_ConfigClockSource(&htim15, &sClockSourceConfig) != HAL_OK)
  {
    Error_Handler();
  }
  sMasterConfig.MasterOutputTrigger = TIM_TRGO_RESET;
  sMasterConfig.MasterSlaveMode = TIM_MASTERSLAVEMODE_DISABLE;
  if (HAL_TIMEx_MasterConfigSynchronization(&htim15, &sMasterConfig) != HAL_OK)
  {
    Error_Handler();
  }

}

static void MX_USART1_UART_Init(void)
{

  huart1.Instance = USART1;
  huart1.Init.BaudRate = 38400;
  huart1.Init.WordLength = UART_WORDLENGTH_8B;
  huart1.Init.StopBits = UART_STOPBITS_1;
  huart1.Init.Parity = UART_PARITY_NONE;
  huart1.Init.Mode = UART_MODE_TX_RX;
  huart1.Init.HwFlowCtl = UART_HWCONTROL_NONE;
  huart1.Init.OverSampling = UART_OVERSAMPLING_16;
  huart1.Init.OneBitSampling = UART_ONE_BIT_SAMPLE_DISABLE;
  huart1.AdvancedInit.AdvFeatureInit = UART_ADVFEATURE_NO_INIT;
  if (HAL_UART_Init(&huart1) != HAL_OK)
  {
    Error_Handler();
  }

}

static void MX_GPIO_Init(void)
{
  GPIO_InitTypeDef GPIO_InitStruct = {0};

  /* GPIO Ports Clock Enable */
  __HAL_RCC_GPIOE_CLK_ENABLE();
  __HAL_RCC_GPIOC_CLK_ENABLE();
  __HAL_RCC_GPIOF_CLK_ENABLE();
  __HAL_RCC_GPIOA_CLK_ENABLE();
  __HAL_RCC_GPIOD_CLK_ENABLE();
  __HAL_RCC_GPIOB_CLK_ENABLE();

  /*Configure GPIO pin Output Level */
  HAL_GPIO_WritePin(GPIOE, CS_I2C_SPI_Pin|LD4_Pin|LD3_Pin|LD5_Pin
                          |LD7_Pin|LD9_Pin|LD10_Pin|LD8_Pin
                          |LD6_Pin, GPIO_PIN_RESET);

  /*Configure GPIO pin Output Level */
  HAL_GPIO_WritePin(GPIOC, GPIO_PIN_11, GPIO_PIN_RESET);

  /*Configure GPIO pin Output Level */
  HAL_GPIO_WritePin(GPIOD, GPIO_PIN_0|GPIO_PIN_1|GPIO_PIN_2|GPIO_PIN_3
                          |GPIO_PIN_4|GPIO_PIN_5|GPIO_PIN_6|GPIO_PIN_7, GPIO_PIN_RESET);

  /*Configure GPIO pins : CS_I2C_SPI_Pin LD4_Pin LD3_Pin LD5_Pin
                           LD7_Pin LD9_Pin LD10_Pin LD8_Pin
                           LD6_Pin */
  GPIO_InitStruct.Pin = CS_I2C_SPI_Pin|LD4_Pin|LD3_Pin|LD5_Pin
                          |LD7_Pin|LD9_Pin|LD10_Pin|LD8_Pin
                          |LD6_Pin;
  GPIO_InitStruct.Mode = GPIO_MODE_OUTPUT_PP;
  GPIO_InitStruct.Pull = GPIO_NOPULL;
  GPIO_InitStruct.Speed = GPIO_SPEED_FREQ_LOW;
  HAL_GPIO_Init(GPIOE, &GPIO_InitStruct);

  /*Configure GPIO pins : MEMS_INT3_Pin MEMS_INT4_Pin */
  GPIO_InitStruct.Pin = MEMS_INT3_Pin|MEMS_INT4_Pin;
  GPIO_InitStruct.Mode = GPIO_MODE_EVT_RISING;
  GPIO_InitStruct.Pull = GPIO_NOPULL;
  HAL_GPIO_Init(GPIOE, &GPIO_InitStruct);

  /*Configure GPIO pins : PA0 PA1 PA2 */
  GPIO_InitStruct.Pin = GPIO_PIN_0|GPIO_PIN_1|GPIO_PIN_2;
  GPIO_InitStruct.Mode = GPIO_MODE_IT_RISING;
  GPIO_InitStruct.Pull = GPIO_PULLUP;
  HAL_GPIO_Init(GPIOA, &GPIO_InitStruct);

  /*Configure GPIO pins : SPI1_SCK_Pin SPI1_MISO_Pin SPI1_MISOA7_Pin */
  GPIO_InitStruct.Pin = SPI1_SCK_Pin|SPI1_MISO_Pin|SPI1_MISOA7_Pin;
  GPIO_InitStruct.Mode = GPIO_MODE_AF_PP;
  GPIO_InitStruct.Pull = GPIO_NOPULL;
  GPIO_InitStruct.Speed = GPIO_SPEED_FREQ_LOW;
  GPIO_InitStruct.Alternate = GPIO_AF5_SPI1;
  HAL_GPIO_Init(GPIOA, &GPIO_InitStruct);

  /*Configure GPIO pins : DM_Pin DP_Pin */
  GPIO_InitStruct.Pin = DM_Pin|DP_Pin;
  GPIO_InitStruct.Mode = GPIO_MODE_AF_PP;
  GPIO_InitStruct.Pull = GPIO_NOPULL;
  GPIO_InitStruct.Speed = GPIO_SPEED_FREQ_HIGH;
  GPIO_InitStruct.Alternate = GPIO_AF14_USB;
  HAL_GPIO_Init(GPIOA, &GPIO_InitStruct);

  /*Configure GPIO pin : PC11 */
  GPIO_InitStruct.Pin = GPIO_PIN_11;
  GPIO_InitStruct.Mode = GPIO_MODE_OUTPUT_PP;
  GPIO_InitStruct.Pull = GPIO_NOPULL;
  GPIO_InitStruct.Speed = GPIO_SPEED_FREQ_LOW;
  HAL_GPIO_Init(GPIOC, &GPIO_InitStruct);

  /*Configure GPIO pins : PD0 PD1 PD2 PD3
                           PD4 PD5 PD6 PD7 */
  GPIO_InitStruct.Pin = GPIO_PIN_0|GPIO_PIN_1|GPIO_PIN_2|GPIO_PIN_3
                          |GPIO_PIN_4|GPIO_PIN_5|GPIO_PIN_6|GPIO_PIN_7;
  GPIO_InitStruct.Mode = GPIO_MODE_OUTPUT_PP;
  GPIO_InitStruct.Pull = GPIO_NOPULL;
  GPIO_InitStruct.Speed = GPIO_SPEED_FREQ_LOW;
  HAL_GPIO_Init(GPIOD, &GPIO_InitStruct);

  /*Configure GPIO pins : I2C1_SCL_Pin I2C1_SDA_Pin */
  GPIO_InitStruct.Pin = I2C1_SCL_Pin|I2C1_SDA_Pin;
  GPIO_InitStruct.Mode = GPIO_MODE_AF_OD;
  GPIO_InitStruct.Pull = GPIO_NOPULL;
  GPIO_InitStruct.Speed = GPIO_SPEED_FREQ_LOW;
  GPIO_InitStruct.Alternate = GPIO_AF4_I2C1;
  HAL_GPIO_Init(GPIOB, &GPIO_InitStruct);

  /* EXTI interrupt init*/
  HAL_NVIC_SetPriority(EXTI0_IRQn, 0, 0);
  HAL_NVIC_EnableIRQ(EXTI0_IRQn);

  HAL_NVIC_SetPriority(EXTI1_IRQn, 0, 0);
  HAL_NVIC_EnableIRQ(EXTI1_IRQn);

  HAL_NVIC_SetPriority(EXTI2_TSC_IRQn, 0, 0);
  HAL_NVIC_EnableIRQ(EXTI2_TSC_IRQn);

}

void Error_Handler(void)
{
  __disable_irq();
  while (1)
  {
  }
}
